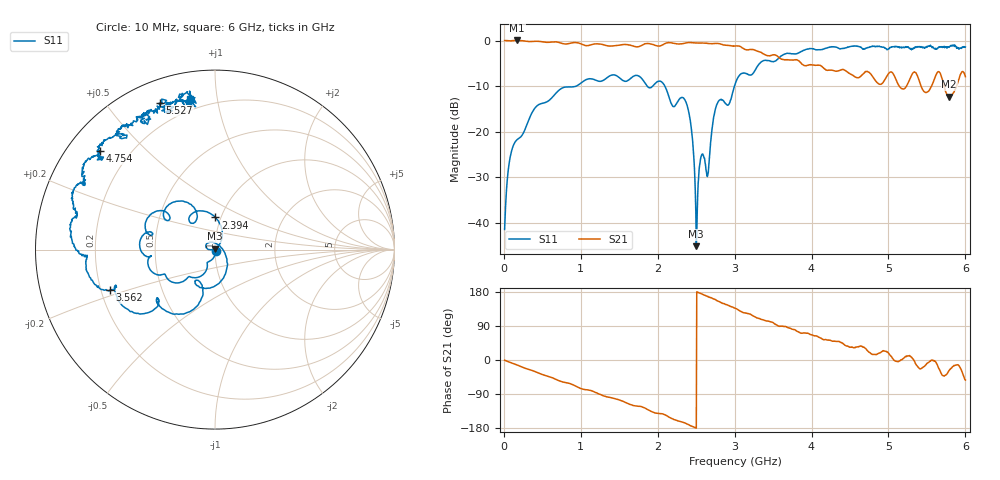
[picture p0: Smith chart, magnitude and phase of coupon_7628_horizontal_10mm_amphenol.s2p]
! NanoVNA-App
! Date: 2026-10-17 12:16:05
! Start: 10MHz Stop: 6GHz Points: 1001
! S-Parameter data: F S11 S21 S12 S22
# Hz S RI R 50
!  Frequency  S11_Real  S11_Imag  S21_Real  S21_Imag  S12_Real  S12_Imag  S22_Real  S22_Imag
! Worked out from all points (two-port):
!   1001 points, 10 MHz to 6 GHz, reference 50 ohm
!   highest |S21| = 0.03 dB at 171.7 MHz (marker M1); lowest = -12.3 dB at 5.79 GHz (marker M2)
!   |S21| within 3 dB of the highest: start of sweep to 3.384 GHz
!   lowest |S11| = -45.1 dB at 2.502 GHz (marker M3), VSWR 1.01, Z = 50 + j0.559 ohm
!   |S11| at or under -10 dB: start of sweep to 938.6 MHz; 1.864 GHz to 1.934 GHz (69.84 MHz wide, 3.68 % of centre); 2.094 GHz to 2.997 GHz (903.7 MHz wide, 35.5 % of centre)
!   S12 and S22 are empty: the file has one direction only
!   S11 on the Smith chart (normalised r, x): 10 MHz: 1.01, -0.02; 2.394 GHz: 0.94, +0.35; 3.562 GHz: 0.24, -0.18; 4.754 GHz: 0.09, +0.37; 5.527 GHz: 0.10, +0.69; 6 GHz: 0.14, +0.84
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1e7  0.00406 -0.00749  1.002 -0.00995  0 0  0 0
7.589e7  -0.00998 -0.0482  0.9896 -0.1026  0 0  0 0
1.7173e8  -0.0421 -0.0705  0.9773 -0.2275  0 0  0 0
4.293e8  -0.1108 -0.1567  0.8286 -0.5294  0 0  0 0
1.01033e9  -0.3163 -0.1419  0.2249 -0.8882  0 0  0 0
1.55542e9  -0.3503 0.0929  -0.3024 -0.8539  0 0  0 0
2.01066e9  -0.2763 0.2276  -0.6756 -0.5489  0 0  0 0
2.39402e9  0.00184 0.1791  -0.9359 -0.165  0 0  0 0
2.44793e9  0.0407 0.0813  -0.9442 -0.0787  0 0  0 0
2.50184e9  0.000172 0.00559  -0.9411 -0.00504  0 0  0 0
2.56773e9  -0.0512 0.0191  -0.9351 0.0855  0 0  0 0
2.65758e9  0.034 0.0116  -0.9026 0.2226  0 0  0 0
2.7654e9  0.00969 -0.1965  -0.8546 0.3632  0 0  0 0
3.005e9  -0.0986 -0.3137  -0.6361 0.5972  0 0  0 0
3.56207e9  -0.5873 -0.2252  -0.0055 0.6686  0 0  0 0
4.00533e9  -0.8026 0.153  0.2197 0.4961  0 0  0 0
4.75408e9  -0.6434 0.5496  0.4175 0.1523  0 0  0 0
5.00566e9  -0.531 0.6223  0.4225 0.1253  0 0  0 0
5.52679e9  -0.3056 0.8172  0.2804 -0.0279  0 0  0 0
5.65258e9  -0.2993 0.7956  0.424 -0.1696  0 0  0 0
5.79035e9  -0.1667 0.8274  0.2166 -0.1111  0 0  0 0
6e9  -0.1368 0.8397  0.243 -0.3209  0 0  0 0
